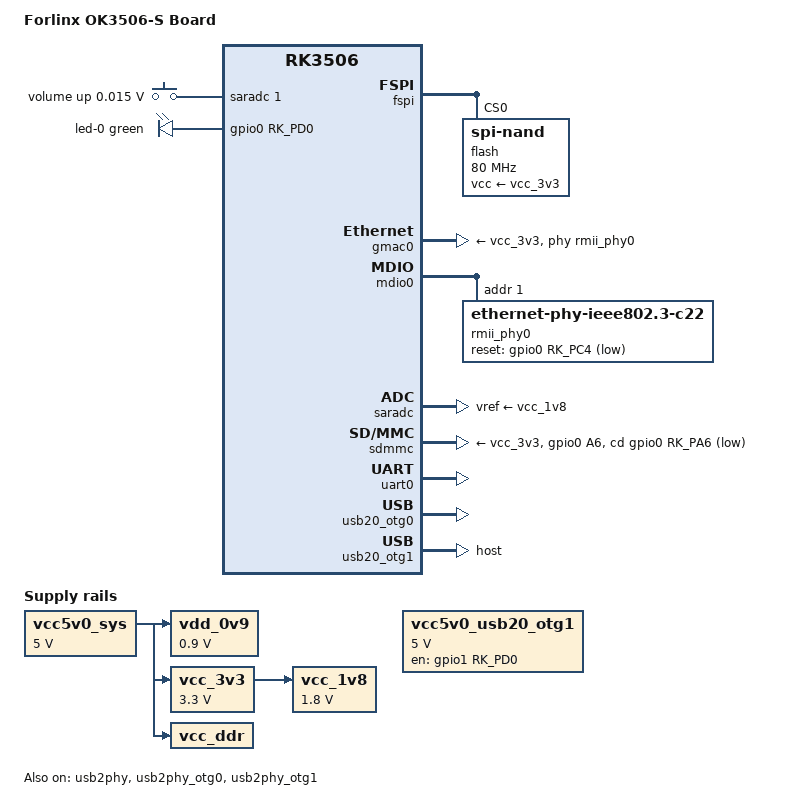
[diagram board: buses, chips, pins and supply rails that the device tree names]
// SPDX-License-Identifier: (GPL-2.0+ OR MIT)

/dts-v1/;

#include <dt-bindings/input/input.h>
#include <dt-bindings/leds/common.h>
#include "rk3506.dtsi"

/ {
	model = "Forlinx OK3506-S Board";
	compatible = "forlinx,ok3506", "rockchip,rk3506";

	aliases {
		ethernet0 = <&gmac0>;
		ethernet1 = <&gmac1>;
		mmc0 = &sdmmc;
		serial0 = &uart0;
	};

	chosen {
		stdout-path = "serial0:1500000n8";
	};

	adc-keys {
		compatible = "adc-keys";
		io-channels = <&saradc 1>;
		io-channel-names = "buttons";
		keyup-threshold-microvolt = <1800000>;
		poll-interval = <100>;

		vol-up-key {
			label = "volume up";
			linux,code = <KEY_VOLUMEUP>;
			press-threshold-microvolt = <15000>;
		};
	};

	leds {
		compatible = "gpio-leds";

		led-0 {
			color = <LED_COLOR_ID_GREEN>;
			default-state = "on";
			function = LED_FUNCTION_HEARTBEAT;
			gpios = <&gpio0 RK_PD0 GPIO_ACTIVE_HIGH>;
			linux,default-trigger = "heartbeat";
			pinctrl-names = "default";
			pinctrl-0 = <&run_led>;
		};
	};

	vdd_0v9: regulator-0v9 {
		compatible = "regulator-fixed";
		regulator-name = "vdd_0v9";
		regulator-always-on;
		regulator-boot-on;
		regulator-min-microvolt = <900000>;
		regulator-max-microvolt = <900000>;
		vin-supply = <&vcc5v0_sys>;
	};

	vcc_1v8: regulator-1v8 {
		compatible = "regulator-fixed";
		regulator-name = "vcc_1v8";
		regulator-always-on;
		regulator-boot-on;
		regulator-min-microvolt = <1800000>;
		regulator-max-microvolt = <1800000>;
		vin-supply = <&vcc_3v3>;
	};

	vcc_3v3: regulator-3v3 {
		compatible = "regulator-fixed";
		regulator-name = "vcc_3v3";
		regulator-always-on;
		regulator-boot-on;
		regulator-min-microvolt = <3300000>;
		regulator-max-microvolt = <3300000>;
		vin-supply = <&vcc5v0_sys>;
	};

	vcc5v0_sys: regulator-5v0-sys {
		compatible = "regulator-fixed";
		regulator-name = "vcc5v0_sys";
		regulator-always-on;
		regulator-boot-on;
		regulator-min-microvolt = <5000000>;
		regulator-max-microvolt = <5000000>;
	};

	vcc5v0_usb20_otg1: regulator-5v0-usb20-otg1 {
		compatible = "regulator-fixed";
		enable-active-high;
		gpios = <&gpio1 RK_PD0 GPIO_ACTIVE_HIGH>;
		pinctrl-names = "default";
		pinctrl-0 = <&usb20_otg1_drv_h>;
		regulator-name = "vcc5v0_usb20_otg1";
		regulator-min-microvolt = <5000000>;
		regulator-max-microvolt = <5000000>;
	};

	vcc_ddr: regulator-vcc-ddr {
		compatible = "regulator-fixed";
		regulator-name = "vcc_ddr";
		regulator-always-on;
		regulator-boot-on;
		vin-supply = <&vcc5v0_sys>;
	};
};

&fspi {
	status = "okay";

	flash@0 {
		compatible = "spi-nand";
		reg = <0>;
		spi-max-frequency = <80000000>;
		spi-rx-bus-width = <4>;
		spi-tx-bus-width = <1>;
		vcc-supply = <&vcc_3v3>;
	};
};

&gmac0 {
	assigned-clocks = <&cru CLK_MAC0>;
	assigned-clock-rates = <50000000>;
	clock_in_out = "output";
	phy-handle = <&rmii_phy0>;
	phy-supply = <&vcc_3v3>;
	pinctrl-names = "default";
	pinctrl-0 = <&eth_rmii0_miim>, <&eth_rmii0_tx_bus2>,
		    <&eth_rmii0_rx_bus2>, <&eth_rmii0_clk>;
	status = "okay";
};

&gmac1 {
	status = "disabled";
};

&mdio0 {
	rmii_phy0: ethernet-phy@1 {
		compatible = "ethernet-phy-ieee802.3-c22";
		reg = <1>;
		pinctrl-names = "default";
		pinctrl-0 = <&rmii0_rstn>;
		reset-assert-us = <20000>;
		reset-deassert-us = <100000>;
		reset-gpios = <&gpio0 RK_PC4 GPIO_ACTIVE_LOW>;
	};
};

&mdio1 {
	status = "disabled";
};

&pinctrl {
	ethernet {
		/omit-if-no-ref/
		rmii0_rstn: rmii0-rstn {
			rockchip,pins = <0 RK_PC4 RK_FUNC_GPIO &pcfg_pull_none>;
		};
	};

	leds {
		/omit-if-no-ref/
		run_led: run-led {
			rockchip,pins = <0 RK_PD0 RK_FUNC_GPIO &pcfg_pull_none>;
		};
	};

	sdmmc {
		/omit-if-no-ref/
		sdmmc_det_l: sdmmc-det-l {
			rockchip,pins = <0 RK_PA6 RK_FUNC_GPIO &pcfg_pull_up>;
		};
	};

	usb {
		/omit-if-no-ref/
		usb20_otg1_drv_h: usb20-otg1-drv-h {
			rockchip,pins = <1 RK_PD0 RK_FUNC_GPIO &pcfg_pull_none>;
		};
	};
};

&saradc {
	vref-supply = <&vcc_1v8>;
	status = "okay";
};

&sdmmc {
	cap-mmc-highspeed;
	cap-sd-highspeed;
	cd-gpios = <&gpio0 RK_PA6 GPIO_ACTIVE_LOW>;
	disable-wp;
	no-sdio;
	pinctrl-names = "default";
	pinctrl-0 = <&sdmmc_bus4>, <&sdmmc_clk>, <&sdmmc_cmd>, <&sdmmc_det_l>;
	vmmc-supply = <&vcc_3v3>;
	vqmmc-supply = <&vcc_3v3>;
	status = "okay";
};

&uart0 {
	status = "okay";
};

&usb20_otg0 {
	status = "okay";
};

&usb20_otg1 {
	dr_mode = "host";
	status = "okay";
};

&usb2phy {
	status = "okay";
};

&usb2phy_otg0 {
	status = "okay";
};

&usb2phy_otg1 {
	phy-supply = <&vcc5v0_usb20_otg1>;
	status = "okay";
};
